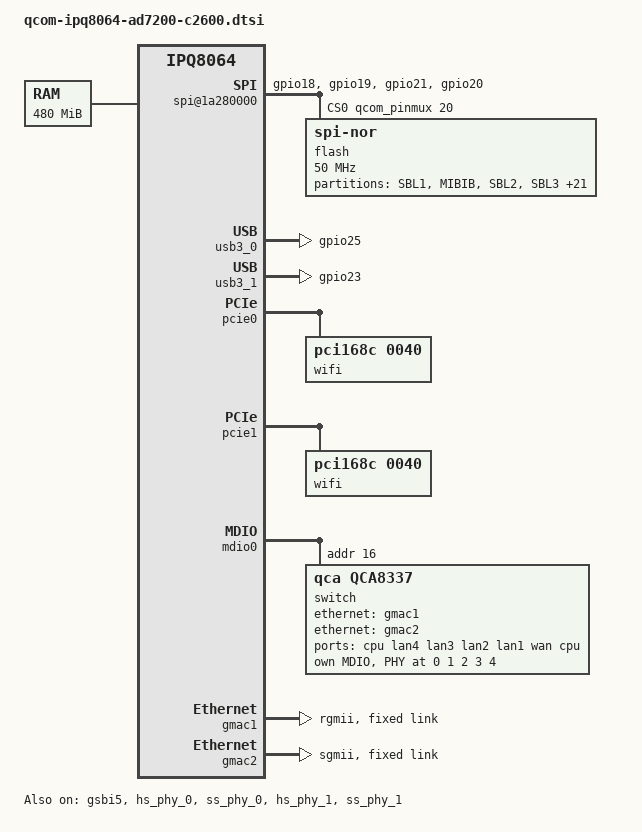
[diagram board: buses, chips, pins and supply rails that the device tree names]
// SPDX-License-Identifier: GPL-2.0-or-later OR MIT

#include "qcom-ipq8064-v2.0-smb208.dtsi"

#include <dt-bindings/input/input.h>

/ {
	memory@0 {
		reg = <0x42000000 0x1e000000>;
		device_type = "memory";
	};

	reserved-memory {
		ramoops@42100000 {
			compatible = "ramoops";
			reg = <0x42100000 0x40000>;
			record-size = <0x4000>;
			console-size = <0x4000>;
			ftrace-size = <0x4000>;
			pmsg-size = <0x4000>;
		};
	};

	aliases {
		mdio-gpio0 = &mdio0;
		label-mac-device = &gmac2;
	};
};

&qcom_pinmux {
	spi_pins: spi-state {
		/delete-property/ pins;
		/delete-property/ function;
		/delete-property/ drive-strength;
		/delete-property/ bias-disable;

		mux {
			pins = "gpio18", "gpio19", "gpio21";
			function = "gsbi5";
			bias-pull-down;
		};

		data {
			pins = "gpio18", "gpio19";
			drive-strength = <10>;
		};

		cs {
			pins = "gpio20";
			function = "gpio";
			drive-strength = <10>;
			bias-pull-up;
		};

		clk {
			pins = "gpio21";
			drive-strength = <12>;
		};
	};

	usb0_pwr_en_pin: usb0_pwr_en_pin {
		mux {
			pins = "gpio25";
			function = "gpio";
			drive-strength = <10>;
			bias-pull-up;
			output-high;
		};
	};

	usb1_pwr_en_pin: usb1_pwr_en_pin {
		mux {
			pins = "gpio23";
			function = "gpio";
			drive-strength = <10>;
			bias-pull-up;
			output-high;
		};
	};
};

&gsbi5 {
	qcom,mode = <GSBI_PROT_SPI>;
	status = "okay";

	spi@1a280000 {
		status = "okay";

		pinctrl-0 = <&spi_pins>;
		pinctrl-names = "default";

		cs-gpios = <&qcom_pinmux 20 GPIO_ACTIVE_HIGH>;

		flash@0 {
			compatible = "jedec,spi-nor";
			#address-cells = <1>;
			#size-cells = <1>;
			spi-max-frequency = <50000000>;
			reg = <0>;

			partitions {
				compatible = "fixed-partitions";
				#address-cells = <1>;
				#size-cells = <1>;

				partition@0 {
					label = "SBL1";
					reg = <0x0 0x20000>;
					read-only;
				};

				partition@20000 {
					label = "MIBIB";
					reg = <0x20000 0x20000>;
					read-only;
				};

				partition@40000 {
					label = "SBL2";
					reg = <0x40000 0x20000>;
					read-only;
				};

				partition@60000 {
					label = "SBL3";
					reg = <0x60000 0x30000>;
					read-only;
				};

				partition@90000 {
					label = "DDRCONFIG";
					reg = <0x90000 0x10000>;
					read-only;
				};

				partition@a0000 {
					label = "SSD";
					reg = <0xa0000 0x10000>;
					read-only;
				};

				partition@b0000 {
					label = "TZ";
					reg = <0xb0000 0x30000>;
					read-only;
				};

				partition@e0000 {
					label = "RPM";
					reg = <0xe0000 0x20000>;
					read-only;
				};

				partition@100000 {
					label = "fs-uboot";
					reg = <0x100000 0x70000>;
					read-only;
				};

				partition@170000 {
					label = "uboot-env";
					reg = <0x170000 0x40000>;
					read-only;
				};

				partition@1b0000 {
					label = "radio";
					reg = <0x1b0000 0x40000>;
					read-only;

					nvmem-layout {
						compatible = "fixed-layout";
						#address-cells = <1>;
						#size-cells = <1>;

						precal_radio_1000: precal@1000 {
							reg = <0x1000 0x2f20>;
						};

						precal_radio_5000: precal@5000 {
							reg = <0x5000 0x2f20>;
						};
					};
				};

				partition@1f0000 {
					label = "os-image";
					reg = <0x1f0000 0x400000>;
				};

				partition@5f0000 {
					label = "rootfs";
					reg = <0x5f0000 0x1900000>;
				};

				defaultmac: partition@1ef0000 {
					label = "default-mac";
					reg = <0x1ef0000 0x00200>;
					read-only;

					nvmem-layout {
						compatible = "fixed-layout";
						#address-cells = <1>;
						#size-cells = <1>;

						macaddr_defaultmac_8: macaddr@8 {
							compatible = "mac-base";
							reg = <0x8 0x6>;
							#nvmem-cell-cells = <1>;
						};
					};
				};

				partition@1ef0200 {
					label = "pin";
					reg = <0x1ef0200 0x00200>;
					read-only;
				};

				partition@1ef0400 {
					label = "product-info";
					reg = <0x1ef0400 0x0fc00>;
					read-only;
				};

				partition@1f00000 {
					label = "partition-table";
					reg = <0x1f00000 0x10000>;
					read-only;
				};

				partition@1f10000 {
					label = "soft-version";
					reg = <0x1f10000 0x10000>;
					read-only;
				};

				partition@1f20000 {
					label = "support-list";
					reg = <0x1f20000 0x10000>;
					read-only;
				};

				partition@1f30000 {
					label = "profile";
					reg = <0x1f30000 0x10000>;
					read-only;
				};

				partition@1f40000 {
					label = "default-config";
					reg = <0x1f40000 0x10000>;
					read-only;
				};

				partition@1f50000 {
					label = "user-config";
					reg = <0x1f50000 0x40000>;
					read-only;
				};

				partition@1f90000 {
					label = "qos-db";
					reg = <0x1f90000 0x40000>;
					read-only;
				};

				partition@1fd0000 {
					label = "usb-config";
					reg = <0x1fd0000 0x10000>;
					read-only;
				};

				partition@1fe0000 {
					label = "log";
					reg = <0x1fe0000 0x20000>;
					read-only;
				};
			};
		};
	};
};

&hs_phy_0 {
	status = "okay";
};

&ss_phy_0 {
	status = "okay";
};

&usb3_0 {
	status = "okay";

	pinctrl-0 = <&usb0_pwr_en_pin>;
	pinctrl-names = "default";
};

&hs_phy_1 {
	status = "okay";
};

&ss_phy_1 {
	status = "okay";
};

&usb3_1 {
	status = "okay";

	pinctrl-0 = <&usb1_pwr_en_pin>;
	pinctrl-names = "default";
};

&pcie0 {
	status = "okay";

	bridge@0,0 {
		reg = <0x00000000 0 0 0 0>;
		#address-cells = <3>;
		#size-cells = <2>;
		ranges;

		wifi@1,0 {
			compatible = "pci168c,0040";
			reg = <0x00010000 0 0 0 0>;

			nvmem-cells = <&macaddr_defaultmac_8 (-1)>, <&precal_radio_1000>;
			nvmem-cell-names = "mac-address", "pre-calibration";
		};
	};
};

&pcie1 {
	status = "okay";
	max-link-speed = <1>;

	bridge@0,0 {
		reg = <0x00000000 0 0 0 0>;
		#address-cells = <3>;
		#size-cells = <2>;
		ranges;

		wifi@1,0 {
			compatible = "pci168c,0040";
			reg = <0x00010000 0 0 0 0>;

			nvmem-cells = <&macaddr_defaultmac_8 0>, <&precal_radio_5000>;
			nvmem-cell-names = "mac-address", "pre-calibration";
		};
	};
};

&mdio0 {
	status = "okay";

	pinctrl-0 = <&mdio0_pins>;
	pinctrl-names = "default";

	switch@10 {
		compatible = "qca,qca8337";
		#address-cells = <1>;
		#size-cells = <0>;
		reg = <0x10>;

		ports {
			#address-cells = <1>;
			#size-cells = <0>;

			port@0 {
				reg = <0>;
				label = "cpu";
				ethernet = <&gmac1>;
				phy-mode = "rgmii";
				tx-internal-delay-ps = <1000>;
				rx-internal-delay-ps = <1000>;

				fixed-link {
					speed = <1000>;
					full-duplex;
				};
			};

			port@1 {
				reg = <1>;
				label = "lan4";
				phy-mode = "internal";
				phy-handle = <&phy_port1>;
			};

			port@2 {
				reg = <2>;
				label = "lan3";
				phy-mode = "internal";
				phy-handle = <&phy_port2>;
			};

			port@3 {
				reg = <3>;
				label = "lan2";
				phy-mode = "internal";
				phy-handle = <&phy_port3>;
			};

			port@4 {
				reg = <4>;
				label = "lan1";
				phy-mode = "internal";
				phy-handle = <&phy_port4>;
			};

			port@5 {
				reg = <5>;
				label = "wan";
				phy-mode = "internal";
				phy-handle = <&phy_port5>;
			};

			port@6 {
				reg = <6>;
				label = "cpu";
				ethernet = <&gmac2>;
				phy-mode = "sgmii";
				qca,sgmii-enable-pll;

				fixed-link {
					speed = <1000>;
					full-duplex;
				};
			};
		};

		mdio {
			#address-cells = <1>;
			#size-cells = <0>;

			phy_port1: phy@0 {
				reg = <0>;
			};

			phy_port2: phy@1 {
				reg = <1>;
			};

			phy_port3: phy@2 {
				reg = <2>;
			};

			phy_port4: phy@3 {
				reg = <3>;
			};

			phy_port5: phy@4 {
				reg = <4>;
			};
		};
	};
};

&gmac1 {
	status = "okay";
	phy-mode = "rgmii";
	qcom,id = <1>;

	pinctrl-0 = <&rgmii2_pins>;
	pinctrl-names = "default";

	nvmem-cells = <&macaddr_defaultmac_8 1>;
	nvmem-cell-names = "mac-address";

	fixed-link {
		speed = <1000>;
		full-duplex;
	};
};

&gmac2 {
	status = "okay";
	phy-mode = "sgmii";
	qcom,id = <2>;

	nvmem-cells = <&macaddr_defaultmac_8 0>;
	nvmem-cell-names = "mac-address";

	fixed-link {
		speed = <1000>;
		full-duplex;
	};
};

&adm_dma {
	status = "okay";
};
